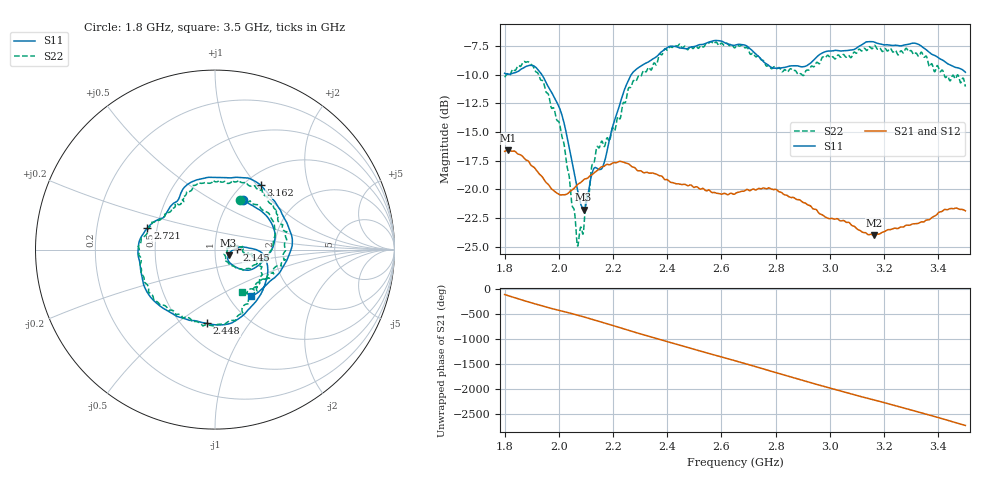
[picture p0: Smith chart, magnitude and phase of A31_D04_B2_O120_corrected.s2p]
! Created with skrf 1.9.0 (http://scikit-rf.org).
# Hz S RI R 50.0
!freq ReS11 ImS11 ReS21 ImS21 ReS12 ImS12 ReS22 ImS22
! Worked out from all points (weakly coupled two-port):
!   1601 points, 1.8 GHz to 3.5 GHz, reference 50 ohm
!   highest |S21| = -16.60 dB at 1.812 GHz (marker M1); lowest = -24.0 dB at 3.163 GHz (marker M2)
!   lowest |S11| = -21.8 dB at 2.091 GHz (marker M3), VSWR 1.18, Z = 58 - j3.64 ohm
!   |S11| at or under -10 dB: 1.938 GHz to 2.267 GHz (329.2 MHz wide, 15.7 % of centre)
!   |S22| runs from -25.0 to -7.1 dB; largest |S21 - S12| = 0.0024
!   S11 on the Smith chart (normalised r, x): 1.8 GHz: 1.14, +0.71; 2.145 GHz: 1.28, +0.00; 2.448 GHz: 0.66, -0.65; 2.721 GHz: 0.44, +0.13; 3.162 GHz: 1.17, +1.05; 3.5 GHz: 1.26, -0.72
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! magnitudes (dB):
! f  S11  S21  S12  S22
! 1.8 GHz  -9.9  -16.7  -16.7  -10.2
! 1.812 GHz  -9.9  -16.6  -16.6  -9.9
! 1.882 GHz  -9.2  -17.5  -17.5  -8.9
! 1.941 GHz  -10.1  -19.0  -19.0  -10.5
! 2.011 GHz  -13.5  -20.5  -20.5  -15.4
! 2.067 GHz  -19.8  -19.6  -19.6  -24.6
! 2.084 GHz  -21.5  -19.4  -19.3  -23.4
! 2.091 GHz  -21.8  -19.2  -19.2  -23.7
! 2.125 GHz  -18.4  -18.7  -18.7  -17.8
! 2.145 GHz  -18.2  -18.3  -18.3  -16.3
! 2.188 GHz  -15.6  -17.9  -17.9  -15.8
! 2.262 GHz  -10.2  -17.9  -17.9  -11.1
! 2.367 GHz  -8.3  -18.8  -18.7  -8.5
! 2.448 GHz  -7.7  -19.6  -19.6  -7.4
! 2.65 GHz  -7.4  -20.4  -20.3  -7.6
! 2.721 GHz  -8.1  -20.0  -19.9  -8.3
! 2.795 GHz  -9.4  -20.0  -20.0  -9.3
! 2.934 GHz  -8.9  -21.6  -21.6  -9.2
! 3.162 GHz  -7.1  -24.0  -23.9  -7.5
! 3.163 GHz  -7.1  -24.0  -23.9  -7.5
! 3.217 GHz  -7.4  -23.5  -23.5  -7.8
! 3.5 GHz  -9.8  -21.9  -21.8  -11.0
